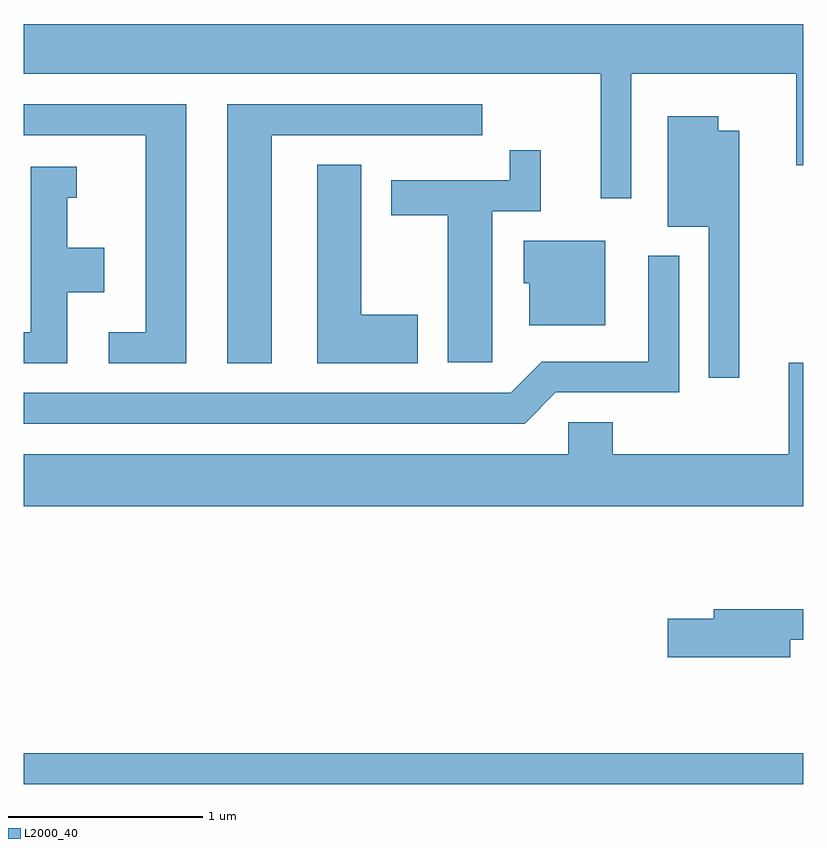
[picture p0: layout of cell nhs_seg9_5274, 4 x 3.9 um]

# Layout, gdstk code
import gdstk
lib = gdstk.Library(unit=1e-6, precision=1e-09)
def R(c, l, rs):  # rectangles x0, y0, x1, y1
    for r in rs: c.add(gdstk.rectangle(r[:2], r[2:], *l))
def P(c, l, *ps):  # polygons
    for p in ps: c.add(gdstk.Polygon(p, *l))
L2000_40 = (2000, 40)

nhs_seg9_5274 = lib.new_cell('nhs_seg9_5274')
R(nhs_seg9_5274, L2000_40, [(339.611,2072.531,343.611,2072.689)])
P(nhs_seg9_5274, L2000_40, [(342.729,2076.176),(343.576,2076.176),(343.576,2075.708),(343.611,2075.708),(343.611,2076.432),(339.611,2076.432),(339.611,2076.176),(342.571,2076.176),(342.571,2075.538),(342.729,2075.538)],
  [(340.444,2076.019),(339.611,2076.019),(339.611,2075.861),(340.236,2075.861),(340.236,2074.849),(340.048,2074.849),(340.048,2074.691),(340.444,2074.691)],
  [(340.884,2075.861),(341.963,2075.861),(341.963,2076.019),(340.656,2076.019),(340.656,2074.691),(340.884,2074.691)],
  [(343.284,2075.884),(343.174,2075.884),(343.174,2075.959),(342.916,2075.959),(342.916,2075.391),(343.126,2075.391),(343.126,2074.617),(343.284,2074.617)],
  [(342.014,2075.471),(342.264,2075.471),(342.264,2075.783),(342.106,2075.783),(342.106,2075.629),(341.496,2075.629),(341.496,2075.451),(341.786,2075.451),(341.786,2074.696),(342.014,2074.696)],
  [(341.634,2074.939),(341.344,2074.939),(341.344,2075.709),(341.116,2075.709),(341.116,2074.691),(341.634,2074.691)],
  [(339.834,2075.056),(340.024,2075.056),(340.024,2075.284),(339.834,2075.284),(339.834,2075.541),(339.883,2075.541),(339.883,2075.699),(339.646,2075.699),(339.646,2074.849),(339.611,2074.849),(339.611,2074.691),(339.834,2074.691)],
  [(342.594,2075.319),(342.176,2075.319),(342.176,2075.101),(342.206,2075.101),(342.206,2074.886),(342.594,2074.886)],
  [(342.342,2074.541),(342.974,2074.541),(342.974,2075.242),(342.816,2075.242),(342.816,2074.699),(342.269,2074.699),(342.109,2074.539),(339.611,2074.539),(339.611,2074.381),(342.182,2074.381)],
  [(343.611,2074.694),(343.536,2074.694),(343.536,2074.224),(342.634,2074.224),(342.634,2074.389),(342.406,2074.389),(342.406,2074.224),(339.611,2074.224),(339.611,2073.956),(343.611,2073.956)],
  [(343.544,2073.271),(343.611,2073.271),(343.611,2073.429),(343.151,2073.429),(343.151,2073.379),(342.916,2073.379),(342.916,2073.181),(343.544,2073.181)])

lib.write_gds('nhs_seg9_5274.gds')
